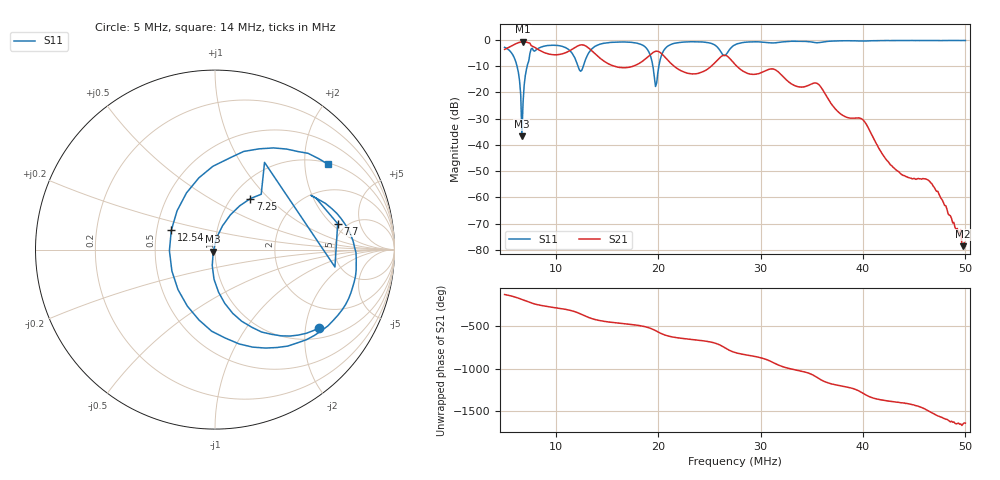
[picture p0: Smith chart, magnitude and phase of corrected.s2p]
! S11/S21 only; reverse parameters are placeholders. Device calibration unverified.
! [Saver CAL applied] C:\Users\aknya\MyProjects\rf-simulator\calibration2.cal | Ideal standards assumed | Input: NanoVNA F V2 profile | COM3 | 2026-09-08T11:39:19.8554890-04:00 | device calibration unverified
# HZ S RI R 50
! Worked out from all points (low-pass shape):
!   401 points, 5 MHz to 50 MHz, reference 50 ohm
!   highest |S21| = -0.65 dB at 6.8 MHz (marker M1); lowest = -78.6 dB at 49.77 MHz (marker M2)
!   |S21| within 3 dB of the highest: start of sweep to 8.293 MHz; 11.54 MHz to 13.39 MHz (1.85 MHz wide, 14.8 % of centre)
!   lowest |S11| = -36.7 dB at 6.688 MHz (marker M3), VSWR 1.03, Z = 49 - j1.08 ohm
!   |S11| at or under -10 dB: 6.215 MHz to 7.203 MHz (987.8 kHz wide, 14.7 % of centre); 12.17 MHz to 12.68 MHz (513.9 kHz wide, 4.14 % of centre); 19.48 MHz to 20.06 MHz (582.3 kHz wide, 2.95 % of centre)
!   S12 and S22 are empty: the file has one direction only
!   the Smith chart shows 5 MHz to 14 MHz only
!   S11 on the Smith chart (normalised r, x): 5 MHz: 1.30, -2.39; 7.25 MHz: 1.21, +0.78; 7.7 MHz: 4.23, +2.39; 12.54 MHz: 0.60, +0.14; 14 MHz: 1.04, +2.61
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5000000  0.5815 -0.435  -0.3815 -0.5441  0 0  0 0
6012500  0.1489 -0.3993  -0.7531 -0.3593  0 0  0 0
6687500  -0.00965 -0.011  -0.9238 0.04  0 0  0 0
6800000  0.00747 0.0631  -0.92 0.1244  0 0  0 0
7250000  0.1969 0.2844  -0.7959 0.4172  0 0  0 0
7700000  0.6835 0.1445  -0.5151 0.5632  0 0  0 0
9725000  0.7762 -0.1779  0.0559 0.5223  0 0  0 0
1.13e7  0.3451 -0.5456  0.3808 0.4854  0 0  0 0
1.25375e7  -0.2435 0.1076  0.8092 0.00277  0 0  0 0
1.4e7  0.6286 0.4762  0.2219 -0.4589  0 0  0 0
1.65875e7  0.903 -0.1641  -0.0878 -0.2838  0 0  0 0
1.8725e7  0.4321 -0.6001  -0.3488 -0.2551  0 0  0 0
2.0075e7  0.0636 0.3221  -0.5085 0.3124  0 0  0 0
2.17625e7  0.8742 0.1035  0.0105 0.2946  0 0  0 0
2.62625e7  0.4456 -0.3034  0.4859 -0.1238  0 0  0 0
2.75e7  0.795 -0.1645  0.0167 -0.3438  0 0  0 0
3.0875e7  0.7359 -0.4947  -0.2773 0.0267  0 0  0 0
3.50375e7  0.6303 -0.6612  0.144 0.0301  0 0  0 0
4.2575e7  0.442 -0.8704  0.00226 0.00385  0 0  0 0
4.65125e7  0.2894 -0.9363  0.000887 -0.0018  0 0  0 0
4.9775e7  0.1673 -0.9669  -0.000103 5.51e-05  0 0  0 0
5e7  0.1581 -0.9677  -0.000111 3.84e-05  0 0  0 0
